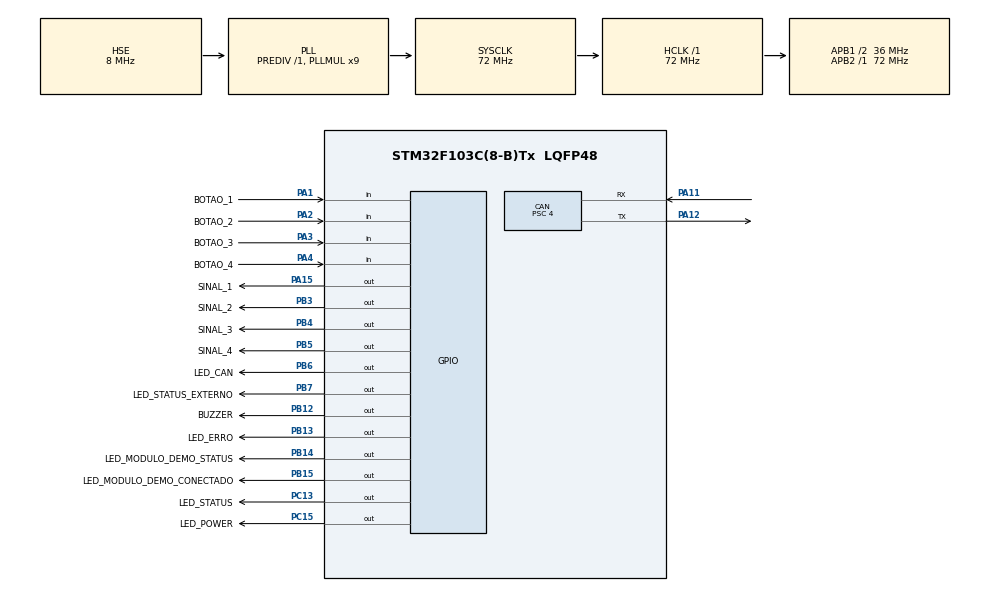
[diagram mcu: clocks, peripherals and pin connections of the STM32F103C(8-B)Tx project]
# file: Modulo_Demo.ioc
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CAN.ABOM=ENABLE
CAN.BS1=CAN_BS1_15TQ
CAN.BS2=CAN_BS2_2TQ
CAN.CalculateBaudRate=500000
CAN.CalculateTimeBit=2000
CAN.CalculateTimeQuantum=111.11111111111111
CAN.NART=ENABLE
CAN.Prescaler=4
Mcu.Family=STM32F1
Mcu.Name=STM32F103C(8-B)Tx
Mcu.Package=LQFP48
NVIC.PriorityGroup=NVIC_PRIORITYGROUP_4
PA1.GPIO_Label=BOTAO_1
PA1.GPIO_PuPd=GPIO_PULLUP
PA1.Signal=GPIO_Input
PA11.Mode=CAN_Activate
PA11.Signal=CAN_RX
PA12.Mode=CAN_Activate
PA12.Signal=CAN_TX
PA13.Mode=Serial_Wire
PA13.Signal=SYS_JTMS-SWDIO
PA14.Mode=Serial_Wire
PA14.Signal=SYS_JTCK-SWCLK
PA15.GPIO_Label=SINAL_1
PA15.PinState=GPIO_PIN_RESET
PA15.Signal=GPIO_Output
PA2.GPIO_Label=BOTAO_2
PA2.GPIO_PuPd=GPIO_PULLUP
PA2.Signal=GPIO_Input
PA3.GPIO_Label=BOTAO_3
PA3.GPIO_PuPd=GPIO_PULLUP
PA3.Signal=GPIO_Input
PA4.GPIO_Label=BOTAO_4
PA4.GPIO_PuPd=GPIO_PULLUP
PA4.Signal=GPIO_Input
PB12.GPIO_Label=BUZZER
PB12.Signal=GPIO_Output
PB13.GPIO_Label=LED_ERRO
PB13.PinState=GPIO_PIN_SET
PB13.Signal=GPIO_Output
PB14.GPIO_Label=LED_MODULO_DEMO_STATUS
PB14.Signal=GPIO_Output
PB15.GPIO_Label=LED_MODULO_DEMO_CONECTADO
PB15.Signal=GPIO_Output
PB3.GPIO_Label=SINAL_2
PB3.Signal=GPIO_Output
PB4.GPIO_Label=SINAL_3
PB4.Signal=GPIO_Output
PB5.GPIO_Label=SINAL_4
PB5.Signal=GPIO_Output
PB6.GPIO_Label=LED_CAN
PB6.PinState=GPIO_PIN_SET
PB6.Signal=GPIO_Output
PB7.GPIO_Label=LED_STATUS_EXTERNO
PB7.PinState=GPIO_PIN_SET
PB7.Signal=GPIO_Output
PC13-TAMPER-RTC.GPIO_Label=LED_STATUS
PC13-TAMPER-RTC.PinState=GPIO_PIN_SET
PC13-TAMPER-RTC.Signal=GPIO_Output
PC15-OSC32_OUT.GPIO_Label=LED_POWER
PC15-OSC32_OUT.PinState=GPIO_PIN_SET
PC15-OSC32_OUT.Signal=GPIO_Output
PD0-OSC_IN.Mode=HSE-External-Oscillator
PD0-OSC_IN.Signal=RCC_OSC_IN
PD1-OSC_OUT.Mode=HSE-External-Oscillator
PD1-OSC_OUT.Signal=RCC_OSC_OUT
ProjectManager.HeapSize=0x200
ProjectManager.StackSize=0x400
ProjectManager.TargetToolchain=STM32CubeIDE
RCC.AHBFreq_Value=72000000
RCC.APB1CLKDivider=RCC_HCLK_DIV2
RCC.APB1Freq_Value=36000000
RCC.APB1TimFreq_Value=72000000
RCC.APB2Freq_Value=72000000
RCC.APB2TimFreq_Value=72000000
RCC.HCLKFreq_Value=72000000
RCC.PLLMUL=RCC_PLL_MUL9
RCC.PLLSourceVirtual=RCC_PLLSOURCE_HSE
RCC.SYSCLKFreq_VALUE=72000000
RCC.SYSCLKSource=RCC_SYSCLKSOURCE_PLLCLK
RCC.USBFreq_Value=72000000
board=custom

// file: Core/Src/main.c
/* USER CODE BEGIN Header */
/**
  ******************************************************************************
  * @file           : main.c
  * @brief          : Main program body
  ******************************************************************************
  * @attention
  *
  * Copyright (c) 2026 STMicroelectronics.
  * All rights reserved.
  *
  * This software is licensed under terms that can be found in the LICENSE file
  * in the root directory of this software component.
  * If no LICENSE file comes with this software, it is provided AS-IS.
  *
  ******************************************************************************
  */
/* USER CODE END Header */
#include "main.h"

/* USER CODE BEGIN PD */

#define TEMPO_DESLIGAR_RELES_MS  120000
#define TEMPO_RESET_SISTEMA_MS  8000
#define TEMPO_BUZZER_LIGADO_MS 4000
#define TEMPO_HEARTBEAT_NORMAL_MS 500
#define TEMPO_HEARTBEAT_RAPIDO_MS 100
#define TEMPO_ATIVIDADE_MS 3000

/* USER CODE END PD */

CAN_HandleTypeDef hcan;

/* USER CODE BEGIN PV */
/*DEFINIÇAO DE VARIAVES */

uint8_t estadoRele1 = 0;
uint8_t estadoRele2 = 0;
uint8_t estadoRele3 = 0;
uint8_t estadoRele4 = 0;
uint8_t eventoBotao = 0;

uint8_t buzzerLigado = 0;
uint32_t tempoInicioBuzzer = 0;

uint32_t tempoUltimaAtividade = 0;

uint32_t tempoInicioReset = 0;
uint32_t tempoPiscaReset = 0;
uint8_t solicitarReset = 0;

/*TEMPORIZADORES DOS RELES PARA DESLIGAR AUTMÁTICO*/
uint32_t tempoInicioRele1 = 0;
uint32_t tempoInicioRele2 = 0;
uint32_t tempoInicioRele3 = 0;
uint32_t tempoInicioRele4 = 0;

/* Estados usados no debounce */
GPIO_PinState ultimaLeituraBotao1 = GPIO_PIN_SET;
GPIO_PinState estadoEstavelBotao1 = GPIO_PIN_SET;

GPIO_PinState ultimaLeituraBotao2 = GPIO_PIN_SET;
GPIO_PinState estadoEstavelBotao2 = GPIO_PIN_SET;

GPIO_PinState ultimaLeituraBotao3 = GPIO_PIN_SET;
GPIO_PinState estadoEstavelBotao3 = GPIO_PIN_SET;

GPIO_PinState ultimaLeituraBotao4 = GPIO_PIN_SET;
GPIO_PinState estadoEstavelBotao4 = GPIO_PIN_SET;

/* Momento em que a leitura do botão mudou */
uint32_t tempoDebounceBotao1 = 0;
uint32_t tempoDebounceBotao2 = 0;
uint32_t tempoDebounceBotao3 = 0;
uint32_t tempoDebounceBotao4 = 0;

uint32_t tempoLedStatus = 0;
uint32_t tempoLedStatus2 = 0;

/* USER CODE END PV */

void SystemClock_Config(void);
static void MX_GPIO_Init(void);
static void MX_CAN_Init(void);
/* USER CODE BEGIN PFP */

/*FUNCOES */

void ControlarCanal(
    GPIO_TypeDef *botaoPort,
    uint16_t botaoPin,
    GPIO_TypeDef *relePort,
    uint16_t relePin,
    uint8_t *estadoRele,
    GPIO_PinState *ultimaLeitura,
    GPIO_PinState *estadoEstavel,
    uint32_t *tempoDebounce,
	uint32_t *tempoInicioRele
);

void Inicializacao(void);
void desligarLeds(void);
void ligarLeds(void);

/* USER CODE END PFP */

int main(void)
{

  /* MCU Configuration--------------------------------------------------------*/

  /* Reset of all peripherals, Initializes the Flash interface and the Systick. */
  HAL_Init();

  /* Configure the system clock */
  SystemClock_Config();

  /* Initialize all configured peripherals */
  MX_GPIO_Init();
  MX_CAN_Init();
  /* USER CODE BEGIN 2 */
  /*DEFINE AS INICIALIZAÇÕES DOS GPIOS*/

  /*DEFINE O BUZZER COMO LOW*/
  HAL_GPIO_WritePin(BUZZER_GPIO_Port,BUZZER_Pin,GPIO_PIN_RESET);

  Inicializacao();

  /*LED DE ENERGIA*/
  HAL_GPIO_WritePin(LED_POWER_GPIO_Port,LED_POWER_Pin,GPIO_PIN_RESET);
  HAL_Delay(1000);

  /*FORÇA O  SINAL_1 COMEÇAR EM ZERO*/
  HAL_GPIO_WritePin(SINAL_1_GPIO_Port,SINAL_1_Pin,GPIO_PIN_RESET);
  /*FORÇA O  SINAL_2 COMEÇAR EM ZERO*/
  HAL_GPIO_WritePin(SINAL_2_GPIO_Port,SINAL_2_Pin,GPIO_PIN_RESET);
  /*FORÇA O  SINAL_3 COMEÇAR EM ZERO*/
  HAL_GPIO_WritePin( SINAL_3_GPIO_Port,SINAL_3_Pin,GPIO_PIN_RESET);
  /*FORÇA O  SINAL_4 COMEÇAR EM ZERO*/
  HAL_GPIO_WritePin(SINAL_4_GPIO_Port,SINAL_4_Pin,GPIO_PIN_RESET);

  /* USER CODE END 2 */

  /* Infinite loop */
  /* USER CODE BEGIN WHILE */
  while (1)
  {
	      ControlarCanal(
	          BOTAO_1_GPIO_Port,
	          BOTAO_1_Pin,
	          SINAL_1_GPIO_Port,
	          SINAL_1_Pin,
	          &estadoRele1,
	          &ultimaLeituraBotao1,
	          &estadoEstavelBotao1,
	          &tempoDebounceBotao1,
			  &tempoInicioRele1
	      );

	      ControlarCanal(
	          BOTAO_2_GPIO_Port,
	          BOTAO_2_Pin,
	          SINAL_2_GPIO_Port,
	          SINAL_2_Pin,
	          &estadoRele2,
	          &ultimaLeituraBotao2,
	          &estadoEstavelBotao2,
	          &tempoDebounceBotao2,
			  &tempoInicioRele2
	      );

	      ControlarCanal(
	          BOTAO_3_GPIO_Port,
	          BOTAO_3_Pin,
	          SINAL_3_GPIO_Port,
	          SINAL_3_Pin,
	          &estadoRele3,
	          &ultimaLeituraBotao3,
	          &estadoEstavelBotao3,
	          &tempoDebounceBotao3,
			  &tempoInicioRele3
	      );

	      ControlarCanal(
	          BOTAO_4_GPIO_Port,
	          BOTAO_4_Pin,
	          SINAL_4_GPIO_Port,
	          SINAL_4_Pin,
	          &estadoRele4,
	          &ultimaLeituraBotao4,
	          &estadoEstavelBotao4,
	          &tempoDebounceBotao4,
			  &tempoInicioRele1
	      );

	      /*Reset do módulo está com o botão 1 e 4 pressionados simultaneamente */
		if (HAL_GPIO_ReadPin(BOTAO_1_GPIO_Port, BOTAO_1_Pin) == GPIO_PIN_RESET
				&& HAL_GPIO_ReadPin(BOTAO_4_GPIO_Port, BOTAO_4_Pin)
						== GPIO_PIN_RESET) {
			if (solicitarReset == 0) {
				solicitarReset = 1;

				tempoInicioReset = HAL_GetTick();
				tempoPiscaReset = HAL_GetTick();
			}

			/* Pisca LED_ERRO a cada 250 ms */
			if ((HAL_GetTick() - tempoPiscaReset) >= 250) {
				tempoPiscaReset = HAL_GetTick();

				HAL_GPIO_TogglePin(LED_ERRO_GPIO_Port, LED_ERRO_Pin);
			}

			/* Mantidos por 8 segundos */
			if ((HAL_GetTick() - tempoInicioReset) >= TEMPO_RESET_SISTEMA_MS) {
				NVIC_SystemReset();
			}
		} else {
			/* Algum dos botões foi solto antes dos 8 segundos. Cancela o pedido de reset.*/
			solicitarReset = 0;

			/* LED_ERRO ativo em LOW: SET = apagado */
			HAL_GPIO_WritePin(LED_ERRO_GPIO_Port, LED_ERRO_Pin, GPIO_PIN_SET);
		}

		 /*Definir a frequencia do led comforme atividade */
	      uint32_t intervaloHeartbeat;

	      if ((HAL_GetTick() - tempoUltimaAtividade) < TEMPO_ATIVIDADE_MS)
	      {
	          intervaloHeartbeat = TEMPO_HEARTBEAT_RAPIDO_MS;
	      }
	      else
	      {
	          intervaloHeartbeat = TEMPO_HEARTBEAT_NORMAL_MS;
	      }

		/* Pisca o LED de funcionamento conforme a atividade inativo 500ms , ativo 200 ms */
		if ((HAL_GetTick() - tempoLedStatus) >= intervaloHeartbeat) {
			tempoLedStatus = HAL_GetTick();

			HAL_GPIO_TogglePin(
			LED_STATUS_GPIO_Port,
			LED_STATUS_Pin);

			/* LED externo */
			HAL_GPIO_TogglePin(
			LED_STATUS_EXTERNO_GPIO_Port,
			LED_STATUS_EXTERNO_Pin);
		}

		/*lED DE FUNCIONAMENTO MODULO 2*/
		if ((HAL_GetTick() - tempoLedStatus2) >= 400) {
			tempoLedStatus2 = HAL_GetTick();

			HAL_GPIO_TogglePin(
			LED_MODULO_DEMO_STATUS_GPIO_Port,
			LED_MODULO_DEMO_STATUS_Pin);
		}

		/*LOGICA DO BUZZER PARA FICAR LIGADO X TEMPO*/
		if (eventoBotao == 1) {
			HAL_GPIO_WritePin(
			BUZZER_GPIO_Port,
			BUZZER_Pin, GPIO_PIN_SET);

			buzzerLigado = 1;
			tempoInicioBuzzer = HAL_GetTick();

			eventoBotao = 0;
		}

		if (buzzerLigado == 1
				&& (HAL_GetTick() - tempoInicioBuzzer) >= TEMPO_BUZZER_LIGADO_MS) {
			HAL_GPIO_WritePin(
			BUZZER_GPIO_Port,
			BUZZER_Pin, GPIO_PIN_RESET);

			buzzerLigado = 0;
		}

    /* USER CODE END WHILE */

    /* USER CODE BEGIN 3 */

	      /* USER CODE BEGIN 3 */
  }
  /* USER CODE END 3 */
}

void SystemClock_Config(void)
{
  RCC_OscInitTypeDef RCC_OscInitStruct = {0};
  RCC_ClkInitTypeDef RCC_ClkInitStruct = {0};

  /** Initializes the RCC Oscillators according to the specified parameters
  * in the RCC_OscInitTypeDef structure.
  */
  RCC_OscInitStruct.OscillatorType = RCC_OSCILLATORTYPE_HSE;
  RCC_OscInitStruct.HSEState = RCC_HSE_ON;
  RCC_OscInitStruct.HSEPredivValue = RCC_HSE_PREDIV_DIV1;
  RCC_OscInitStruct.HSIState = RCC_HSI_ON;
  RCC_OscInitStruct.PLL.PLLState = RCC_PLL_ON;
  RCC_OscInitStruct.PLL.PLLSource = RCC_PLLSOURCE_HSE;
  RCC_OscInitStruct.PLL.PLLMUL = RCC_PLL_MUL9;
  if (HAL_RCC_OscConfig(&RCC_OscInitStruct) != HAL_OK)
  {
    Error_Handler();
  }

  /** Initializes the CPU, AHB and APB buses clocks
  */
  RCC_ClkInitStruct.ClockType = RCC_CLOCKTYPE_HCLK|RCC_CLOCKTYPE_SYSCLK
                              |RCC_CLOCKTYPE_PCLK1|RCC_CLOCKTYPE_PCLK2;
  RCC_ClkInitStruct.SYSCLKSource = RCC_SYSCLKSOURCE_PLLCLK;
  RCC_ClkInitStruct.AHBCLKDivider = RCC_SYSCLK_DIV1;
  RCC_ClkInitStruct.APB1CLKDivider = RCC_HCLK_DIV2;
  RCC_ClkInitStruct.APB2CLKDivider = RCC_HCLK_DIV1;

  if (HAL_RCC_ClockConfig(&RCC_ClkInitStruct, FLASH_LATENCY_2) != HAL_OK)
  {
    Error_Handler();
  }
}

static void MX_CAN_Init(void)
{

  hcan.Instance = CAN1;
  hcan.Init.Prescaler = 4;
  hcan.Init.Mode = CAN_MODE_NORMAL;
  hcan.Init.SyncJumpWidth = CAN_SJW_1TQ;
  hcan.Init.TimeSeg1 = CAN_BS1_15TQ;
  hcan.Init.TimeSeg2 = CAN_BS2_2TQ;
  hcan.Init.TimeTriggeredMode = DISABLE;
  hcan.Init.AutoBusOff = ENABLE;
  hcan.Init.AutoWakeUp = DISABLE;
  hcan.Init.AutoRetransmission = ENABLE;
  hcan.Init.ReceiveFifoLocked = DISABLE;
  hcan.Init.TransmitFifoPriority = DISABLE;
  if (HAL_CAN_Init(&hcan) != HAL_OK)
  {
    Error_Handler();
  }

}

static void MX_GPIO_Init(void)
{
  GPIO_InitTypeDef GPIO_InitStruct = {0};

  /* GPIO Ports Clock Enable */
  __HAL_RCC_GPIOC_CLK_ENABLE();
  __HAL_RCC_GPIOD_CLK_ENABLE();
  __HAL_RCC_GPIOA_CLK_ENABLE();
  __HAL_RCC_GPIOB_CLK_ENABLE();

  /*Configure GPIO pin Output Level */
  HAL_GPIO_WritePin(GPIOC, LED_STATUS_Pin|LED_POWER_Pin, GPIO_PIN_SET);

  /*Configure GPIO pin Output Level */
  HAL_GPIO_WritePin(GPIOB, BUZZER_Pin|LED_MODULO_DEMO_STATUS_Pin|LED_MODULO_DEMO_CONECTADO_Pin|SINAL_2_Pin
                          |SINAL_3_Pin|SINAL_4_Pin, GPIO_PIN_RESET);

  /*Configure GPIO pin Output Level */
  HAL_GPIO_WritePin(GPIOB, LED_ERRO_Pin|LED_CAN_Pin|LED_STATUS_EXTERNO_Pin, GPIO_PIN_SET);

  /*Configure GPIO pin Output Level */
  HAL_GPIO_WritePin(SINAL_1_GPIO_Port, SINAL_1_Pin, GPIO_PIN_RESET);

  /*Configure GPIO pins : LED_STATUS_Pin LED_POWER_Pin */
  GPIO_InitStruct.Pin = LED_STATUS_Pin|LED_POWER_Pin;
  GPIO_InitStruct.Mode = GPIO_MODE_OUTPUT_PP;
  GPIO_InitStruct.Pull = GPIO_NOPULL;
  GPIO_InitStruct.Speed = GPIO_SPEED_FREQ_LOW;
  HAL_GPIO_Init(GPIOC, &GPIO_InitStruct);

  /*Configure GPIO pins : BOTAO_1_Pin BOTAO_2_Pin BOTAO_3_Pin BOTAO_4_Pin */
  GPIO_InitStruct.Pin = BOTAO_1_Pin|BOTAO_2_Pin|BOTAO_3_Pin|BOTAO_4_Pin;
  GPIO_InitStruct.Mode = GPIO_MODE_INPUT;
  GPIO_InitStruct.Pull = GPIO_PULLUP;
  HAL_GPIO_Init(GPIOA, &GPIO_InitStruct);

  /*Configure GPIO pins : BUZZER_Pin LED_ERRO_Pin LED_MODULO_DEMO_STATUS_Pin LED_MODULO_DEMO_CONECTADO_Pin
                           SINAL_2_Pin SINAL_3_Pin SINAL_4_Pin LED_CAN_Pin
                           LED_STATUS_EXTERNO_Pin */
  GPIO_InitStruct.Pin = BUZZER_Pin|LED_ERRO_Pin|LED_MODULO_DEMO_STATUS_Pin|LED_MODULO_DEMO_CONECTADO_Pin
                          |SINAL_2_Pin|SINAL_3_Pin|SINAL_4_Pin|LED_CAN_Pin
                          |LED_STATUS_EXTERNO_Pin;
  GPIO_InitStruct.Mode = GPIO_MODE_OUTPUT_PP;
  GPIO_InitStruct.Pull = GPIO_NOPULL;
  GPIO_InitStruct.Speed = GPIO_SPEED_FREQ_LOW;
  HAL_GPIO_Init(GPIOB, &GPIO_InitStruct);

  /*Configure GPIO pin : SINAL_1_Pin */
  GPIO_InitStruct.Pin = SINAL_1_Pin;
  GPIO_InitStruct.Mode = GPIO_MODE_OUTPUT_PP;
  GPIO_InitStruct.Pull = GPIO_NOPULL;
  GPIO_InitStruct.Speed = GPIO_SPEED_FREQ_LOW;
  HAL_GPIO_Init(SINAL_1_GPIO_Port, &GPIO_InitStruct);

}

/* USER CODE BEGIN 4 */

/* USER CODE BEGIN 4 */

/*FUNÇÃO PARA TRATAMENTO DOS BOTÕES*/

void ControlarCanal(
    GPIO_TypeDef *botaoPort,
    uint16_t botaoPin,
    GPIO_TypeDef *relePort,
    uint16_t relePin,
    uint8_t *estadoRele,
    GPIO_PinState *ultimaLeitura,
    GPIO_PinState *estadoEstavel,
    uint32_t *tempoDebounce,
	uint32_t *tempoInicioRele
)
{
    GPIO_PinState leituraAtual =
        HAL_GPIO_ReadPin(botaoPort, botaoPin);

    /*
     * Se a leitura mudou, reinicia o tempo
     * necessário para o debounce.
     */
	if (leituraAtual != *ultimaLeitura) {
		*tempoDebounce = HAL_GetTick();
	}

	/*Só aceita a mudança depois do tempo estabelecido configuradi inicial para 30ms ( >= 30)ms sem alteração na leitura.*/
	/* Para mudar o tempo modificar */
	if ((HAL_GetTick() - *tempoDebounce) >= 30) {
		if (leituraAtual != *estadoEstavel) {
			*estadoEstavel = leituraAtual;

			/* o botão usa pull-up,RESET representa botão pressionad */
			if (*estadoEstavel == GPIO_PIN_RESET) {
				/* Alterna entre ligado e desligado */
				*estadoRele = !(*estadoRele);

				HAL_GPIO_WritePin(relePort, relePin,
						*estadoRele ? GPIO_PIN_SET : GPIO_PIN_RESET);
				/*começa a contar o tempo do HEARTBEAT*/
				tempoUltimaAtividade = HAL_GetTick();

				/*Se o novo estado for ligado, salva o instante e aciona o evento do buzzer.
				 */
				if (*estadoRele == 1) {
					*tempoInicioRele = HAL_GetTick();
					eventoBotao = 1;
				}
			}
		}
	}

    /* Guarda a leitura atual para a próximaexecução da função.*/
    /*Se o relé estiver ligado e completar 10 segundos, desliga automaticamente.*/

    /*MUDAR O TEMPO PARA DESLIGAR O RELE DAS SINALEIRAS */
	if (*estadoRele == 1
			&& (HAL_GetTick() - *tempoInicioRele) >= TEMPO_DESLIGAR_RELES_MS) {
		*estadoRele = 0;

		HAL_GPIO_WritePin(relePort, relePin, GPIO_PIN_RESET);
	}

	*ultimaLeitura = leituraAtual;
}

void Inicializacao(){

	desligarLeds();

    /* Acende todos os LEDs estilo cascata */
    HAL_GPIO_WritePin(LED_POWER_GPIO_Port, LED_POWER_Pin, GPIO_PIN_RESET);
    HAL_Delay(1500);

	HAL_GPIO_WritePin(LED_MODULO_DEMO_STATUS_GPIO_Port, LED_MODULO_DEMO_STATUS_Pin, GPIO_PIN_RESET);
    HAL_GPIO_WritePin(LED_STATUS_EXTERNO_GPIO_Port, LED_STATUS_EXTERNO_Pin, GPIO_PIN_RESET);
    HAL_Delay(1500);

	HAL_GPIO_WritePin(LED_MODULO_DEMO_CONECTADO_GPIO_Port, LED_MODULO_DEMO_STATUS_Pin, GPIO_PIN_RESET);
    HAL_GPIO_WritePin(LED_CAN_GPIO_Port, LED_CAN_Pin, GPIO_PIN_RESET);
    HAL_Delay(1500);

    HAL_GPIO_WritePin(LED_ERRO_GPIO_Port, LED_ERRO_Pin, GPIO_PIN_RESET);
    HAL_Delay(1500);

    /* Apaga todos ao terminar o "teste" */
    desligarLeds();

    /* Piscar 10x todos os leds*/

	for (uint8_t i = 0; i < 30; i++) {

		ligarLeds();
		HAL_Delay(100);

		desligarLeds();
		HAL_Delay(100);

	}
	HAL_Delay(1000);
}

/*Função para desligar todos os leds*/
void ligarLeds(){
    HAL_GPIO_WritePin(LED_POWER_GPIO_Port, LED_POWER_Pin, GPIO_PIN_RESET);
    HAL_GPIO_WritePin(LED_STATUS_EXTERNO_GPIO_Port, LED_STATUS_EXTERNO_Pin, GPIO_PIN_RESET);
	HAL_GPIO_WritePin(LED_MODULO_DEMO_STATUS_GPIO_Port, LED_MODULO_DEMO_STATUS_Pin, GPIO_PIN_RESET);
	HAL_GPIO_WritePin(LED_MODULO_DEMO_CONECTADO_GPIO_Port, LED_MODULO_DEMO_STATUS_Pin, GPIO_PIN_RESET);
    HAL_GPIO_WritePin(LED_CAN_GPIO_Port, LED_CAN_Pin, GPIO_PIN_RESET);
    HAL_GPIO_WritePin(LED_ERRO_GPIO_Port, LED_ERRO_Pin, GPIO_PIN_RESET);
}

/*Funcao para ligar todos os leds*/
void desligarLeds(){
	HAL_GPIO_WritePin(LED_POWER_GPIO_Port, LED_POWER_Pin, GPIO_PIN_SET);
	HAL_GPIO_WritePin(LED_STATUS_EXTERNO_GPIO_Port, LED_STATUS_EXTERNO_Pin, GPIO_PIN_SET);
	HAL_GPIO_WritePin(LED_MODULO_DEMO_STATUS_GPIO_Port, LED_MODULO_DEMO_STATUS_Pin, GPIO_PIN_SET);
	HAL_GPIO_WritePin(LED_MODULO_DEMO_CONECTADO_GPIO_Port, LED_MODULO_DEMO_STATUS_Pin, GPIO_PIN_SET);
	HAL_GPIO_WritePin(LED_ERRO_GPIO_Port, LED_ERRO_Pin, GPIO_PIN_SET);
	HAL_GPIO_WritePin(LED_CAN_GPIO_Port, LED_CAN_Pin, GPIO_PIN_SET);

}

/* USER CODE END 4 */

void Error_Handler(void)
{
  __disable_irq();
  while (1)
  {
  }
}
